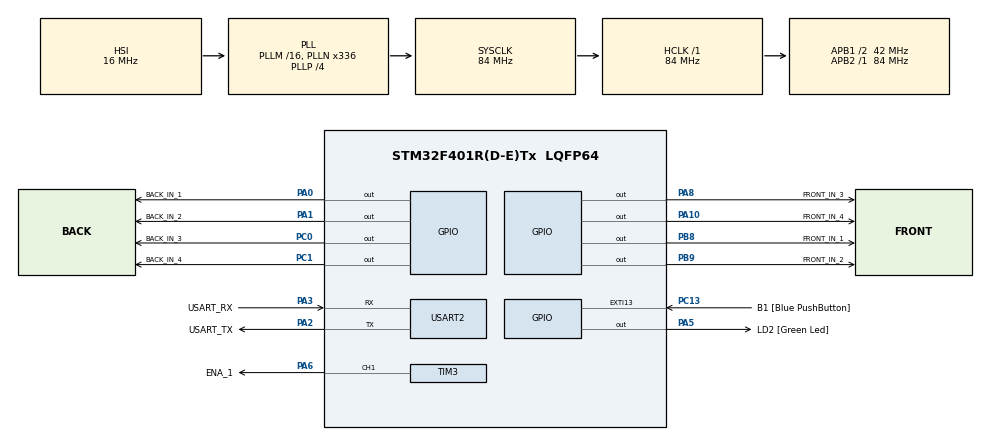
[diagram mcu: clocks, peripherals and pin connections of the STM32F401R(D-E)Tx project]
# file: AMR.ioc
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Mcu.Family=STM32F4
Mcu.Name=STM32F401R(D-E)Tx
Mcu.Package=LQFP64
NVIC.PriorityGroup=NVIC_PRIORITYGROUP_0
NVIC.USART2_IRQn=true\:0\:0\:false\:false\:true\:true\:true
PA0-WKUP.GPIO_Label=BACK_IN_1
PA0-WKUP.GPIO_Speed=GPIO_SPEED_FREQ_VERY_HIGH
PA0-WKUP.Signal=GPIO_Output
PA1.GPIO_Label=BACK_IN_2
PA1.GPIO_Speed=GPIO_SPEED_FREQ_VERY_HIGH
PA1.Signal=GPIO_Output
PA10.GPIO_Label=FRONT_IN_4
PA10.GPIO_Speed=GPIO_SPEED_FREQ_LOW
PA10.Signal=GPIO_Output
PA13.GPIO_Label=TMS
PA13.Mode=Serial_Wire
PA13.Signal=SYS_JTMS-SWDIO
PA14.GPIO_Label=TCK
PA14.Mode=Serial_Wire
PA14.Signal=SYS_JTCK-SWCLK
PA2.GPIO_Label=USART_TX
PA2.GPIO_Mode=GPIO_MODE_AF_PP
PA2.GPIO_PuPd=GPIO_NOPULL
PA2.GPIO_Speed=GPIO_SPEED_FREQ_LOW
PA2.Mode=Asynchronous
PA2.Signal=USART2_TX
PA3.GPIO_Label=USART_RX
PA3.GPIO_Mode=GPIO_MODE_AF_PP
PA3.GPIO_PuPd=GPIO_NOPULL
PA3.GPIO_Speed=GPIO_SPEED_FREQ_LOW
PA3.Mode=Asynchronous
PA3.Signal=USART2_RX
PA5.GPIO_Label=LD2 [Green Led]
PA5.GPIO_Mode=GPIO_MODE_OUTPUT_PP
PA5.GPIO_PuPd=GPIO_NOPULL
PA5.GPIO_Speed=GPIO_SPEED_FREQ_LOW
PA5.Signal=GPIO_Output
PA6.GPIO_Label=ENA_1
PA6.Signal=S_TIM3_CH1
PA8.GPIO_Label=FRONT_IN_3
PA8.Signal=GPIO_Output
PB3.GPIO_Label=SWO
PB3.Signal=SYS_JTDO-SWO
PB8.GPIO_Label=FRONT_IN_1
PB8.Signal=GPIO_Output
PB9.GPIO_Label=FRONT_IN_2
PB9.Signal=GPIO_Output
PC0.GPIO_Label=BACK_IN_3
PC0.GPIO_Speed=GPIO_SPEED_FREQ_VERY_HIGH
PC0.Signal=GPIO_Output
PC1.GPIO_Label=BACK_IN_4
PC1.GPIO_Speed=GPIO_SPEED_FREQ_VERY_HIGH
PC1.Signal=GPIO_Output
PC13-ANTI_TAMP.GPIO_Label=B1 [Blue PushButton]
PC13-ANTI_TAMP.GPIO_ModeDefaultEXTI=GPIO_MODE_IT_FALLING
PC13-ANTI_TAMP.GPIO_PuPd=GPIO_NOPULL
PC13-ANTI_TAMP.Signal=GPXTI13
PC14-OSC32_IN.Mode=LSE-External-Oscillator
PC14-OSC32_IN.Signal=RCC_OSC32_IN
PC15-OSC32_OUT.Mode=LSE-External-Oscillator
PC15-OSC32_OUT.Signal=RCC_OSC32_OUT
PH0\ -\ OSC_IN.Mode=HSE-External-Clock-Source
PH0\ -\ OSC_IN.Signal=RCC_OSC_IN
PH1\ -\ OSC_OUT.Mode=HSE-External-Clock-Source
PH1\ -\ OSC_OUT.Signal=RCC_OSC_OUT
ProjectManager.HeapSize=0x200
ProjectManager.StackSize=0x400
ProjectManager.TargetToolchain=STM32CubeIDE
RCC.48MHZClocksFreq_Value=48000000
RCC.AHBFreq_Value=84000000
RCC.APB1CLKDivider=RCC_HCLK_DIV2
RCC.APB1Freq_Value=42000000
RCC.APB1TimFreq_Value=84000000
RCC.APB2Freq_Value=84000000
RCC.APB2TimFreq_Value=84000000
RCC.CortexFreq_Value=84000000
RCC.HCLKFreq_Value=84000000
RCC.HSE_VALUE=8000000
RCC.HSI_VALUE=16000000
RCC.PLLN=336
RCC.PLLP=RCC_PLLP_DIV4
RCC.PLLQ=7
RCC.SYSCLKFreq_VALUE=84000000
RCC.SYSCLKSource=RCC_SYSCLKSOURCE_PLLCLK
RCC.VCOOutputFreq_Value=336000000
SH.S_TIM3_CH1.0=TIM3_CH1,PWM Generation1 CH1
TIM3.Channel-PWM\ Generation1\ CH1=TIM_CHANNEL_1
TIM3.Period=999
TIM3.Prescaler=71
TIM3.Pulse-PWM\ Generation1\ CH1=499
USART2.VirtualMode=VM_ASYNC
board=NUCLEO-F401RE

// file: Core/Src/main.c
/* USER CODE BEGIN Header */
/**
 ******************************************************************************
 * @file           : main.c
 * @brief          : Main program body
 ******************************************************************************
 * @attention
 *
 * Copyright (c) 2022 STMicroelectronics.
 * All rights reserved.
 *
 * This software is licensed under terms that can be found in the LICENSE file
 * in the root directory of this software component.
 * If no LICENSE file comes with this software, it is provided AS-IS.
 *
 ******************************************************************************
 */
/* USER CODE END Header */
#include "main.h"
#include "tim.h"
#include "usart.h"
#include "gpio.h"

/* USER CODE BEGIN Includes */
#include "debug.h"
#include "common.h"
#include "motor.h"
#include "serialcomm.h"
/* USER CODE END Includes */

void SystemClock_Config(void);

/* USER CODE BEGIN 0 */

uint8_t rxData;
Serial serial;
uint8_t serialData;

void HAL_UART_RxCpltCallback(UART_HandleTypeDef *huart)
{
	if (huart->Instance == USART2)
	{
		//EnQueue(&serial, rxData);
		HAL_UART_Receive_IT(&huart2, &rxData, 1);
	}
}
/* USER CODE END 0 */

int main(void)
{

  /* MCU Configuration--------------------------------------------------------*/

  /* Reset of all peripherals, Initializes the Flash interface and the Systick. */
  HAL_Init();

  /* Configure the system clock */
  SystemClock_Config();

  /* Initialize all configured peripherals */
  MX_GPIO_Init();
  MX_USART2_UART_Init();
  MX_TIM3_Init();
  /* USER CODE BEGIN 2 */

	SerialInit(&serial);
	HAL_UART_Receive_IT(&huart2, &rxData, 1);

	//HAL_UART_Receive_IT(&huart2, &test, 1);

  /* USER CODE END 2 */

  /* Infinite loop */
	while (1)
	{

    /* USER CODE BEGIN 3 */
		//MotorTest();
		//if (EmptyQueue(&serial) == 0) {
			//serialData = DeQueue(&serial);
		//}
		HAL_UART_Receive_IT(&huart2, &rxData, 1);
		MotorControl(rxData);
		HAL_Delay(10);
	}
  /* USER CODE END 3 */
}

void SystemClock_Config(void)
{
  RCC_OscInitTypeDef RCC_OscInitStruct = {0};
  RCC_ClkInitTypeDef RCC_ClkInitStruct = {0};

  /** Configure the main internal regulator output voltage
  */
  __HAL_RCC_PWR_CLK_ENABLE();
  __HAL_PWR_VOLTAGESCALING_CONFIG(PWR_REGULATOR_VOLTAGE_SCALE2);
  /** Initializes the RCC Oscillators according to the specified parameters
  * in the RCC_OscInitTypeDef structure.
  */
  RCC_OscInitStruct.OscillatorType = RCC_OSCILLATORTYPE_HSI;
  RCC_OscInitStruct.HSIState = RCC_HSI_ON;
  RCC_OscInitStruct.HSICalibrationValue = RCC_HSICALIBRATION_DEFAULT;
  RCC_OscInitStruct.PLL.PLLState = RCC_PLL_ON;
  RCC_OscInitStruct.PLL.PLLSource = RCC_PLLSOURCE_HSI;
  RCC_OscInitStruct.PLL.PLLM = 16;
  RCC_OscInitStruct.PLL.PLLN = 336;
  RCC_OscInitStruct.PLL.PLLP = RCC_PLLP_DIV4;
  RCC_OscInitStruct.PLL.PLLQ = 7;
  if (HAL_RCC_OscConfig(&RCC_OscInitStruct) != HAL_OK)
  {
    Error_Handler();
  }
  /** Initializes the CPU, AHB and APB buses clocks
  */
  RCC_ClkInitStruct.ClockType = RCC_CLOCKTYPE_HCLK|RCC_CLOCKTYPE_SYSCLK
                              |RCC_CLOCKTYPE_PCLK1|RCC_CLOCKTYPE_PCLK2;
  RCC_ClkInitStruct.SYSCLKSource = RCC_SYSCLKSOURCE_PLLCLK;
  RCC_ClkInitStruct.AHBCLKDivider = RCC_SYSCLK_DIV1;
  RCC_ClkInitStruct.APB1CLKDivider = RCC_HCLK_DIV2;
  RCC_ClkInitStruct.APB2CLKDivider = RCC_HCLK_DIV1;

  if (HAL_RCC_ClockConfig(&RCC_ClkInitStruct, FLASH_LATENCY_2) != HAL_OK)
  {
    Error_Handler();
  }
}

void Error_Handler(void)
{
	__disable_irq();
	while (1)
	{
	}
}
